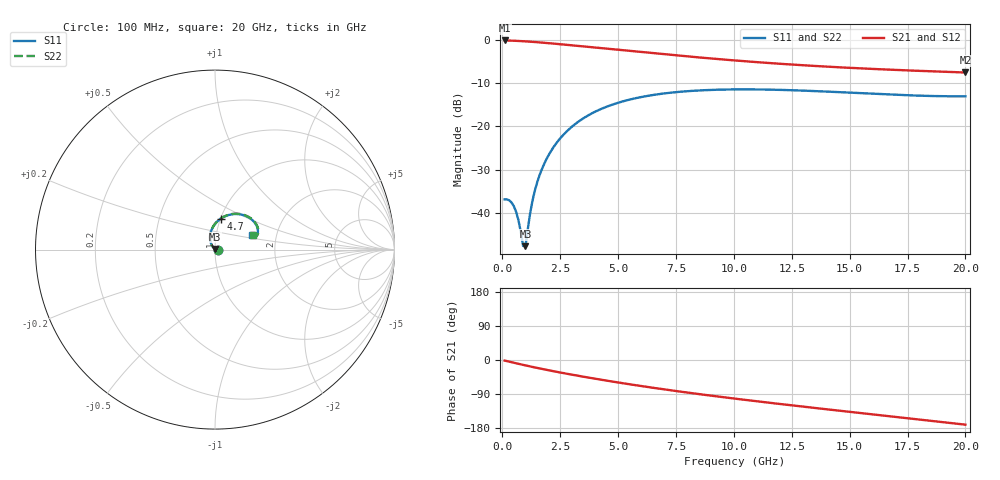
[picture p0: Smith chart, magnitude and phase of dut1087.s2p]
! Touchstone file exported from HFSS 2024.1.0
!  File:  C:/UserFiles/LocalFiles/RDL_TSV_Batchsim/temp_RDL_TSV_1087_1780097178.aedt
!  Generated:  07:36:24 AM May 30, 2026
!  Design:  RDL_TSV
!  Project:  temp_RDL_TSV_1087_1780097178
!  Setup:  Setup1
!  Solution:  Sweep
! Variables:
!  dtsv = 10.52um
!  hbump = 3um
!  htsv = 64.15um
!  ldown = 672.83um
!  lrdl = 113.73um
!  p = 40
!  p1 = 41.23um
!  rhole = 10um
!  subl = 2473.41um
!  t = 450um
!  tdown = 3.34um
!  trdl = 3.12um
!  viad = 10um
!  wdown = 18.56um
!  wrdl = 24.81um
!  xbump = 18um
# GHz S MA R 50.000000
! Terminal data exported
! Port[1] = TM1_1_T1
! Port[2] = TM1_4_T1
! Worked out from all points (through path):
!   200 points, 100 MHz to 20 GHz, reference 50 ohm
!   highest |S21| = -0.13 dB at 100 MHz (marker M1); lowest = -7.5 dB at 20 GHz (marker M2)
!   group delay of S21, straight-line fit = 22.4 ps
!   lowest |S11| = -47.7 dB at 1 GHz (marker M3), VSWR 1.01, Z = 50 + j0.407 ohm
!   |S11| at or under -10 dB: start of sweep to end of sweep
!   |S22| runs from -47.8 to -11.4 dB; largest |S21 - S12| = 9.7e-15
!   S11 on the Smith chart (normalised r, x): 100 MHz: 1.03, +0.00; 4.7 GHz: 1.00, +0.36; 20 GHz: 1.50, +0.25
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0.1  0.01425 1.6  0.9853 -1.5  0.9853 -1.5  0.01425 1.6
! Gamma 0 0 0 0
! Port Impedance 50 0 50 0
0.3  0.01391 1.9  0.9824 -4.4  0.9824 -4.4  0.0139 1.9
0.5  0.01186 1.0  0.978 -7.3  0.978 -7.3  0.01184 1.0
0.6  0.01018 1.8  0.9753 -8.7  0.9753 -8.7  0.01015 1.8
0.7  0.008161 5.0  0.9724 -10.1  0.9724 -10.1  0.008123 5.1
0.9  0.004126 38.4  0.9659 -12.9  0.9659 -12.9  0.004089 39.2
1  0.004099 82.8  0.9622 -14.2  0.9622 -14.2  0.004119 83.9
1.2  0.009762 121.9  0.9543 -16.9  0.9543 -16.9  0.009863 122.3
1.3  0.0136 126.1  0.95 -18.2  0.95 -18.2  0.01373 126.4
1.5  0.02214 127.5  0.941 -20.8  0.941 -20.8  0.02231 127.7
1.8  0.03632 124.4  0.9267 -24.6  0.9267 -24.6  0.03657 124.5
2.1  0.0515 119.5  0.9118 -28.3  0.9118 -28.3  0.05183 119.7
2.5  0.07247 112.5  0.8916 -33.0  0.8916 -33.0  0.07291 112.7
3  0.09864 104.0  0.8662 -38.6  0.8662 -38.6  0.09923 104.1
3.5  0.1237 95.9  0.8412 -44.1  0.8412 -44.1  0.1245 96.1
4.7  0.1761 79.1  0.7832 -56.4  0.7832 -56.4  0.1772 79.3
6.8  0.2365 56.7  0.6906 -75.9  0.6906 -75.9  0.2382 56.9
8.4  0.2591 44.1  0.6302 -89.2  0.6302 -89.2  0.2612 44.3
10.1  0.2674 33.9  0.5767 -102.4  0.5767 -102.4  0.2699 34.1
13.4  0.2564 21.5  0.5011 -125.9  0.5011 -125.9  0.2593 21.6
16.7  0.2332 17.7  0.4526 -148.3  0.4526 -148.3  0.2366 17.7
20  0.2225 21.3  0.4196 -170.6  0.4196 -170.6  0.2258 21.1
